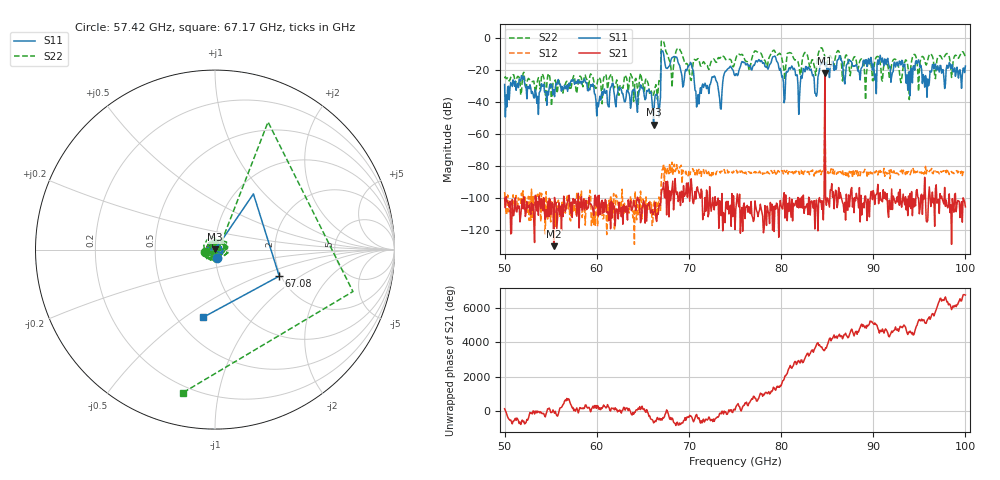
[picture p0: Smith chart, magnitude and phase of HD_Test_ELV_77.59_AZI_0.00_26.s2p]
! 11/25/2026 9:19:54 AM
! C:\ANRITSUVNA\TEMP\TEMP.S2P
! CHANNEL.1
! TR.MEASUREMENT
! RAW.DATA
# HZ S RI R 50.0
! FREQ.HZ  S11RE  S11IM  S21RE  S21IM  S12RE  S12IM  S22RE  S22IM
!; PortSelection: Port_12
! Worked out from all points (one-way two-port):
!   601 points, 50 GHz to 100 GHz, reference 50 ohm
!   highest |S21| = -22.31 dB at 84.75 GHz (marker M1); lowest = -130.0 dB at 55.33 GHz (marker M2)
!   lowest |S11| = -54.3 dB at 66.17 GHz (marker M3), VSWR 1.00, Z = 50.1 + j0.151 ohm
!   |S11| at or under -10 dB: start of sweep to 67 GHz; 67.24 GHz to end of sweep
!   |S22| runs from -42.6 to -1.8 dB; largest |S21 - S12| = 0.07
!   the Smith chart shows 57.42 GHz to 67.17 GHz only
!   S11 on the Smith chart (normalised r, x): 57.42 GHz: 1.02, -0.09; 67.08 GHz: 1.96, -0.68; 67.17 GHz: 0.67, -0.59
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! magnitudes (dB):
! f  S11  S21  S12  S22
! 50 GHz  -29.2  -100.0  -96.2  -25.4
! 55.33 GHz  -32.5  -130.0  -112.0  -26.9
! 57.42 GHz  -26.3  -100.4  -108.3  -25.2
! 58.42 GHz  -27.2  -107.4  -112.1  -29.0
! 60.17 GHz  -43.2  -111.2  -102.0  -24.8
! 61.67 GHz  -28.7  -112.5  -102.5  -24.5
! 66.17 GHz  -54.3  -109.0  -103.6  -35.4
! 66.67 GHz  -41.9  -110.0  -110.8  -32.1
! 67.08 GHz  -8.2  -94.5  -82.6  -1.9
! 67.17 GHz  -8.3  -94.4  -81.7  -1.8
! 70.17 GHz  -15.5  -95.5  -84.0  -25.7
! 70.92 GHz  -40.7  -93.0  -86.2  -13.3
! 75 GHz  -23.7  -119.7  -84.1  -15.0
! 79.25 GHz  -11.8  -120.9  -82.3  -7.9
! 80.25 GHz  -27.6  -100.6  -84.9  -17.7
! 83.42 GHz  -23.8  -103.1  -82.5  -13.8
! 84.75 GHz  -17.6  -22.3  -43.1  -11.7
! 91.67 GHz  -16.7  -112.0  -85.0  -20.5
! 93.75 GHz  -32.8  -111.0  -83.7  -17.3
! 94.83 GHz  -15.0  -99.4  -82.9  -20.3
! 95.83 GHz  -37.2  -115.0  -82.7  -15.9
! 100 GHz  -17.7  -105.5  -83.8  -12.2
